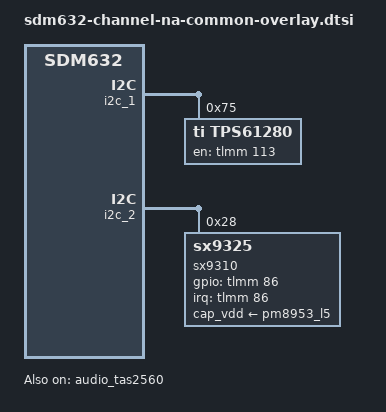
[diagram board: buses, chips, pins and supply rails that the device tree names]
/*
 * Copyright (c) 2017-2018, The Linux Foundation. All rights reserved.
 *
 * This program is free software; you can redistribute it and/or modify
 * it under the terms of the GNU General Public License version 2 and
 * only version 2 as published by the Free Software Foundation.
 *
 * This program is distributed in the hope that it will be useful,
 * but WITHOUT ANY WARRANTY; without even the implied warranty of
 * MERCHANTABILITY or FITNESS FOR A PARTICULAR PURPOSE.  See the
 * GNU General Public License for more details.
 */

#include "sdm632-channel-common-overlay.dtsi"

#define CHANNEL_RADIO_NA 3
#define CHANNEL_RADIO_TMO 4

&i2c_1 {
		tps61280@75 {
			compatible = "ti,tps61280";
			status = "okay";
			reg = <0x75>;
			ti,config = <0x0D>;
			ti,vout-floor = <0x0D>;
			ti,vout-roof = <0x19>;/*0x19*/
			ti,ilim = <0x0F>;
			ti,en-gpio = <&tlmm 113 0>;
			/*ti,vsel-gpio = <&tlmm 104 0>;*/
			pinctrl-names = "default";
			pinctrl-0 = <&tps61280_en_default>;

		};
};

&i2c_2 { /* capsensor */

	sx9310@28 {
		compatible = "sx9325";
		reg = <0x28>;
		cap_vdd-supply = <&pm8953_l5>;
		interrupt-parent = <&tlmm>;
		interrupts = <86 0x2008>;
		gpios = <&tlmm 86 0x2008>;
		pinctrl-names = "default";
		pinctrl-0 = <&sx9310_irq_default>;
		cap,use_channel = <0x0e>;
		cap,use_channel_top = <0x03>;
		cap,use_channel_bottom = <0x01>;
		cap,raw_data_channel = <0x01>;
		cap,scan_period = <0x02>;
		reg_array_len = <25>;
	reg_array_val = <0x05 0x74 0x10 0x07 0x20 0x60 0x24 0xb7 0x26 0x00 0x27 0xaf 0x28 0x3f 0x29 0x06 0x2a 0x31 0x2b 0x12 0x2d 0x0f 0x30 0x13 0x31 0x13 0x32 0x3f 0x33 0x2d 0x34 0x0a 0x35 0x14 0x36 0x18 0x37 0x15 0x43 0x1b 0x44 0x01 0x4a 0x11 0x42 0x1c 0x4b 0x00 0x4c 0x00>;
		/delete-property/ cap_svdd-supply;
	};
};

&audio_tas2560 {
	status = "ok";
};

&soc {
	cdc_quin_mi2s_gpios: msm_cdc_pinctrl_quin {
		compatible = "qcom,msm-cdc-pinctrl";
		pinctrl-names = "aud_active", "aud_sleep";
		pinctrl-0 = <&quin_mi2s_act &pri_tlmm_ws_act>;
		pinctrl-1 = <&quin_mi2s_sus &pri_tlmm_ws_sus>;
	};

	sound {
		qcom,model = "msm8953_snd_card-tas2560";
		qcom,msm-ext-pa = "quinary";
		ti,have-tas2560;
	};

	tas_smartamp: ti,tas2560-algo {
		compatible = "ti,tas2560-algo";
		ti,spk_type_id = <1>;/*ID for tas2560_TI_na.bin*/
		ti,tas2560-port-id = <0x1016>, <0x1017>; /*<RX_PORT_ID>, <TX_PORT_ID>*/
	};
};
